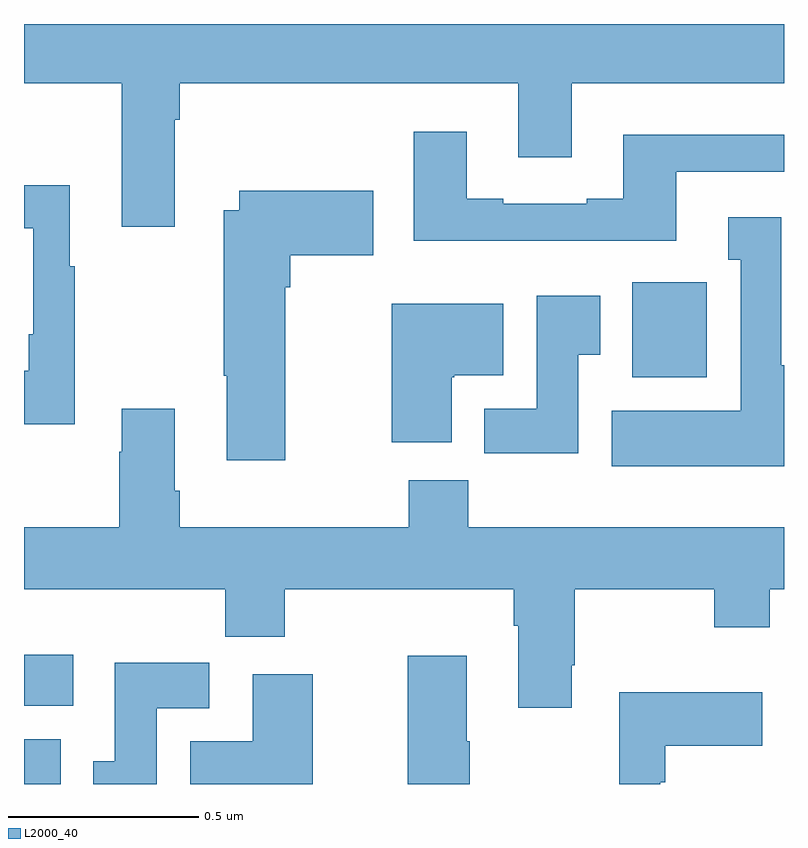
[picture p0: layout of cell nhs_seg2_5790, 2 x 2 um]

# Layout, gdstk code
import gdstk
lib = gdstk.Library(unit=1e-6, precision=1e-09)
def R(c, l, rs):  # rectangles x0, y0, x1, y1
    for r in rs: c.add(gdstk.rectangle(r[:2], r[2:], *l))
def P(c, l, *ps):  # polygons
    for p in ps: c.add(gdstk.Polygon(p, *l))
L2000_40 = (2000, 40)

nhs_seg2_5790 = lib.new_cell('nhs_seg2_5790')
R(nhs_seg2_5790, L2000_40, [(183,637.8,183.097,637.918), (183,638.006,183.13,638.14), (184.601,638.87,184.797,639.121)])
P(nhs_seg2_5790, L2000_40, [(183.397,639.548),(183.41,639.548),(183.41,639.644),(184.301,639.644),(184.301,639.45),(184.441,639.45),(184.441,639.644),(185,639.644),(185,639.8),(183,639.8),(183,639.644),(183.257,639.644),(183.257,639.267),(183.397,639.267)],
  [(184.717,639.411),(185,639.411),(185,639.508),(184.577,639.508),(184.577,639.34),(184.481,639.34),(184.481,639.327),(184.261,639.327),(184.261,639.34),(184.165,639.34),(184.165,639.517),(184.025,639.517),(184.025,639.23),(184.717,639.23)],
  [(183.133,639.163),(183.121,639.163),(183.121,639.376),(183,639.376),(183,639.263),(183.024,639.263),(183.024,638.983),(183.012,638.983),(183.012,638.887),(183,638.887),(183,638.747),(183.133,638.747)],
  [(183.688,639.107),(183.701,639.107),(183.701,639.191),(183.919,639.191),(183.919,639.361),(183.566,639.361),(183.566,639.31),(183.526,639.31),(183.526,638.875),(183.533,638.875),(183.533,638.652),(183.688,638.652)],
  [(185,638.902),(184.993,638.902),(184.993,639.292),(184.853,639.292),(184.853,639.179),(184.886,639.179),(184.886,638.782),(184.547,638.782),(184.547,638.636),(185,638.636)],
  [(184.459,638.929),(184.516,638.929),(184.516,639.085),(184.349,639.085),(184.349,638.788),(184.211,638.788),(184.211,638.67),(184.459,638.67)],
  [(184.126,638.87),(184.132,638.87),(184.132,638.876),(184.261,638.876),(184.261,639.064),(183.968,639.064),(183.968,638.7),(184.126,638.7)],
  [(184.441,638.113),(184.449,638.113),(184.449,638.312),(184.816,638.312),(184.816,638.213),(184.962,638.213),(184.962,638.312),(185,638.312),(185,638.476),(184.169,638.476),(184.169,638.6),(184.013,638.6),(184.013,638.476),(183.41,638.476),(183.41,638.572),(183.397,638.572),(183.397,638.788),(183.257,638.788),(183.257,638.675),(183.25,638.675),(183.25,638.476),(183,638.476),(183,638.312),(183.529,638.312),(183.529,638.188),(183.686,638.188),(183.686,638.312),(184.289,638.312),(184.289,638.216),(184.301,638.216),(184.301,638.001),(184.441,638.001)],
  [(184.173,637.913),(184.165,637.913),(184.165,638.137),(184.01,638.137),(184.01,637.8),(184.173,637.8)],
  [(183.349,638),(183.488,638),(183.488,638.119),(183.239,638.119),(183.239,637.86),(183.182,637.86),(183.182,637.8),(183.349,637.8)],
  [(183.76,638.089),(183.602,638.089),(183.602,637.912),(183.437,637.912),(183.437,637.8),(183.76,637.8)],
  [(184.674,637.805),(184.687,637.805),(184.687,637.901),(184.943,637.901),(184.943,638.041),(184.566,638.041),(184.566,637.8),(184.674,637.8)])

lib.write_gds('nhs_seg2_5790.gds')
